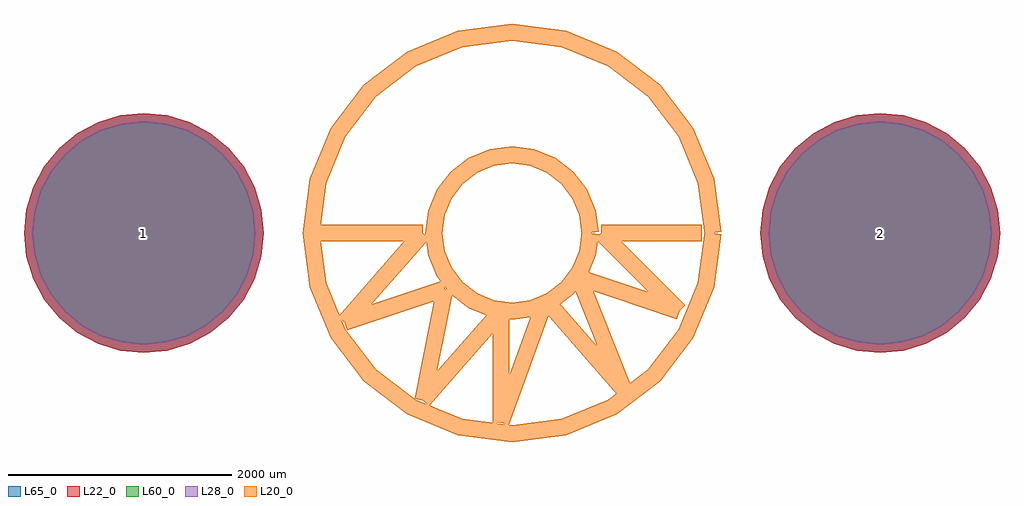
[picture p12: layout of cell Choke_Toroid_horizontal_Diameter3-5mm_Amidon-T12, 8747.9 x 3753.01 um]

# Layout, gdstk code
import gdstk
lib = gdstk.Library(unit=1e-6, precision=1e-09)
def P(c, l, *ps):  # polygons
    for p in ps: c.add(gdstk.Polygon(p, *l))
L20_0 = (20, 0)
L22_0 = (22, 0)
L28_0 = (28, 0)
L60_0 = (60, 0)
L65_0 = (65, 0)

choke_toroid_horizontal_ = lib.new_cell('Choke_Toroid_horizontal_Diameter3-5mm_Amidon-T12')
P(choke_toroid_horizontal_, L22_0, [(4373.95,0),(4353.304,209.623),(4292.159,411.19),(4192.866,596.955),(4059.239,759.779),(3896.415,893.406),(3710.65,992.699),(3509.083,1053.844),(3299.46,1074.49),(3089.837,1053.844),(2888.27,992.699),(2702.505,893.406),(2539.681,759.779),(2406.054,596.955),(2306.761,411.19),(2245.616,209.623),(2224.97,0),(2245.616,-209.623),(2306.761,-411.19),(2406.054,-596.955),(2539.681,-759.779),(2702.505,-893.406),(2888.27,-992.699),(3089.837,-1053.844),(3299.46,-1074.49),(3509.083,-1053.844),(3710.65,-992.699),(3896.415,-893.406),(4059.239,-759.779),(4192.866,-596.955),(4292.159,-411.19),(4353.304,-209.623)],
  [(-2224.97,0),(-2245.616,209.623),(-2306.761,411.19),(-2406.054,596.955),(-2539.681,759.779),(-2702.505,893.406),(-2888.27,992.699),(-3089.837,1053.844),(-3299.46,1074.49),(-3509.083,1053.844),(-3710.65,992.699),(-3896.415,893.406),(-4059.239,759.779),(-4192.866,596.955),(-4292.159,411.19),(-4353.304,209.623),(-4373.95,0),(-4353.304,-209.623),(-4292.159,-411.19),(-4192.866,-596.955),(-4059.239,-759.779),(-3896.415,-893.406),(-3710.65,-992.699),(-3509.083,-1053.844),(-3299.46,-1074.49),(-3089.837,-1053.844),(-2888.27,-992.699),(-2702.505,-893.406),(-2539.681,-759.779),(-2406.054,-596.955),(-2306.761,-411.19),(-2245.616,-209.623)])
P(choke_toroid_horizontal_, L28_0, [(4298.95,0),(4279.745,194.991),(4222.868,382.488),(4130.506,555.287),(4006.206,706.746),(3854.747,831.046),(3681.948,923.408),(3494.451,980.285),(3299.46,999.49),(3104.469,980.285),(2916.972,923.408),(2744.173,831.046),(2592.714,706.746),(2468.414,555.287),(2376.052,382.488),(2319.175,194.991),(2299.97,0),(2319.175,-194.991),(2376.052,-382.488),(2468.414,-555.287),(2592.714,-706.746),(2744.173,-831.046),(2916.972,-923.408),(3104.469,-980.285),(3299.46,-999.49),(3494.451,-980.285),(3681.948,-923.408),(3854.747,-831.046),(4006.206,-706.746),(4130.506,-555.287),(4222.868,-382.488),(4279.745,-194.991)],
  [(-2299.97,0),(-2319.175,194.991),(-2376.052,382.488),(-2468.414,555.287),(-2592.714,706.746),(-2744.173,831.046),(-2916.972,923.408),(-3104.469,980.285),(-3299.46,999.49),(-3494.451,980.285),(-3681.948,923.408),(-3854.747,831.046),(-4006.206,706.746),(-4130.506,555.287),(-4222.868,382.488),(-4279.745,194.991),(-4298.95,0),(-4279.745,-194.991),(-4222.868,-382.488),(-4130.506,-555.287),(-4006.206,-706.746),(-3854.747,-831.046),(-3681.948,-923.408),(-3494.451,-980.285),(-3299.46,-999.49),(-3104.469,-980.285),(-2916.972,-923.408),(-2744.173,-831.046),(-2592.714,-706.746),(-2468.414,-555.287),(-2376.052,-382.488),(-2319.175,-194.991)])
P(choke_toroid_horizontal_, L60_0, [(4298.95,0),(4279.745,194.991),(4222.868,382.488),(4130.506,555.287),(4006.206,706.746),(3854.747,831.046),(3681.948,923.408),(3494.451,980.285),(3299.46,999.49),(3104.469,980.285),(2916.972,923.408),(2744.173,831.046),(2592.714,706.746),(2468.414,555.287),(2376.052,382.488),(2319.175,194.991),(2299.97,0),(2319.175,-194.991),(2376.052,-382.488),(2468.414,-555.287),(2592.714,-706.746),(2744.173,-831.046),(2916.972,-923.408),(3104.469,-980.285),(3299.46,-999.49),(3494.451,-980.285),(3681.948,-923.408),(3854.747,-831.046),(4006.206,-706.746),(4130.506,-555.287),(4222.868,-382.488),(4279.745,-194.991)],
  [(-2299.97,0),(-2319.175,194.991),(-2376.052,382.488),(-2468.414,555.287),(-2592.714,706.746),(-2744.173,831.046),(-2916.972,923.408),(-3104.469,980.285),(-3299.46,999.49),(-3494.451,980.285),(-3681.948,923.408),(-3854.747,831.046),(-4006.206,706.746),(-4130.506,555.287),(-4222.868,382.488),(-4279.745,194.991),(-4298.95,0),(-4279.745,-194.991),(-4222.868,-382.488),(-4130.506,-555.287),(-4006.206,-706.746),(-3854.747,-831.046),(-3681.948,-923.408),(-3494.451,-980.285),(-3299.46,-999.49),(-3104.469,-980.285),(-2916.972,-923.408),(-2744.173,-831.046),(-2592.714,-706.746),(-2468.414,-555.287),(-2376.052,-382.488),(-2319.175,-194.991)])
P(choke_toroid_horizontal_, L65_0, [(4373.95,0),(4353.304,209.623),(4292.159,411.19),(4192.866,596.955),(4059.239,759.779),(3896.415,893.406),(3710.65,992.699),(3509.083,1053.844),(3299.46,1074.49),(3089.837,1053.844),(2888.27,992.699),(2702.505,893.406),(2539.681,759.779),(2406.054,596.955),(2306.761,411.19),(2245.616,209.623),(2224.97,0),(2245.616,-209.623),(2306.761,-411.19),(2406.054,-596.955),(2539.681,-759.779),(2702.505,-893.406),(2888.27,-992.699),(3089.837,-1053.844),(3299.46,-1074.49),(3509.083,-1053.844),(3710.65,-992.699),(3896.415,-893.406),(4059.239,-759.779),(4192.866,-596.955),(4292.159,-411.19),(4353.304,-209.623)],
  [(-2224.97,0),(-2245.616,209.623),(-2306.761,411.19),(-2406.054,596.955),(-2539.681,759.779),(-2702.505,893.406),(-2888.27,992.699),(-3089.837,1053.844),(-3299.46,1074.49),(-3509.083,1053.844),(-3710.65,992.699),(-3896.415,893.406),(-4059.239,759.779),(-4192.866,596.955),(-4292.159,411.19),(-4353.304,209.623),(-4373.95,0),(-4353.304,-209.623),(-4292.159,-411.19),(-4192.866,-596.955),(-4059.239,-759.779),(-3896.415,-893.406),(-3710.65,-992.699),(-3509.083,-1053.844),(-3299.46,-1074.49),(-3089.837,-1053.844),(-2888.27,-992.699),(-2702.505,-893.406),(-2539.681,-759.779),(-2406.054,-596.955),(-2306.761,-411.19),(-2245.616,-209.623)])
choke_toroid_horizontal_.add(gdstk.FlexPath([(1800.86,0),(1739.497,466.097),(1559.591,900.43),(1273.4,1273.4),(900.43,1559.591),(466.097,1739.497),(0,1800.86),(-466.097,1739.497),(-900.43,1559.591),(-1273.4,1273.4),(-1559.591,900.43),(-1739.497,466.097),(-1800.86,0),(-1739.497,-466.097),(-1559.591,-900.43),(-1273.4,-1273.4),(-900.43,-1559.591),(-466.097,-1739.497),(0,-1800.86),(466.097,-1739.497),(900.43,-1559.591),(1273.4,-1273.4),(1559.591,-900.43),(1739.497,-466.097),(1800.86,0)], 149.998, ends="flush", simple_path=True, layer=20, datatype=0))  # L20_0
choke_toroid_horizontal_.add(gdstk.FlexPath([(701.04,0),(677.153,181.443),(607.118,350.52),(495.71,495.71),(350.52,607.118),(181.443,677.153),(0,701.04),(-181.443,677.153),(-350.52,607.118),(-495.71,495.71),(-607.118,350.52),(-677.153,181.443),(-701.04,0),(-677.153,-181.443),(-607.118,-350.52),(-495.71,-495.71),(-350.52,-607.118),(-181.443,-677.153),(0,-701.04),(181.443,-677.153),(350.52,-607.118),(495.71,-495.71),(607.118,-350.52),(677.153,-181.443),(701.04,0)], 149.998, ends="flush", simple_path=True, layer=20, datatype=0))  # L20_0
choke_toroid_horizontal_.add(gdstk.FlexPath([(800.1,0),(1699.26,0)], 149.998, ends="flush", simple_path=True, layer=20, datatype=0))  # L20_0
choke_toroid_horizontal_.add(gdstk.FlexPath([(1501.14,-701.04),(800.1,0)], 149.998, ends="flush", simple_path=True, layer=20, datatype=0))  # L20_0
choke_toroid_horizontal_.add(gdstk.FlexPath([(599.44,-398.78),(1501.14,-701.04)], 149.998, ends="flush", simple_path=True, layer=20, datatype=0))  # L20_0
choke_toroid_horizontal_.add(gdstk.FlexPath([(1000.76,-1399.54),(599.44,-398.78)], 149.998, ends="flush", simple_path=True, layer=20, datatype=0))  # L20_0
choke_toroid_horizontal_.add(gdstk.FlexPath([(299.72,-599.44),(1000.76,-1399.54)], 149.998, ends="flush", simple_path=True, layer=20, datatype=0))  # L20_0
choke_toroid_horizontal_.add(gdstk.FlexPath([(-99.06,-1699.26),(299.72,-599.44)], 149.998, ends="flush", simple_path=True, layer=20, datatype=0))  # L20_0
choke_toroid_horizontal_.add(gdstk.FlexPath([(-99.06,-701.04),(-99.06,-1699.26)], 149.998, ends="flush", simple_path=True, layer=20, datatype=0))  # L20_0
choke_toroid_horizontal_.add(gdstk.FlexPath([(-800.1,-1501.14),(-99.06,-701.04)], 149.998, ends="flush", simple_path=True, layer=20, datatype=0))  # L20_0
choke_toroid_horizontal_.add(gdstk.FlexPath([(-599.44,-500.38),(-800.1,-1501.14)], 149.998, ends="flush", simple_path=True, layer=20, datatype=0))  # L20_0
choke_toroid_horizontal_.add(gdstk.FlexPath([(-1501.14,-800.1),(-599.44,-500.38)], 149.998, ends="flush", simple_path=True, layer=20, datatype=0))  # L20_0
choke_toroid_horizontal_.add(gdstk.FlexPath([(-800.1,0),(-1501.14,-800.1)], 149.998, ends="flush", simple_path=True, layer=20, datatype=0))  # L20_0
choke_toroid_horizontal_.add(gdstk.FlexPath([(-1800.86,0),(-800.1,0)], 149.998, ends="flush", simple_path=True, layer=20, datatype=0))  # L20_0
choke_toroid_horizontal_.add(gdstk.Label('2', (3299.46,0), layer=28, texttype=0))
choke_toroid_horizontal_.add(gdstk.Label('1', (-3299.46,0), layer=28, texttype=0))
choke_toroid_horizontal_.add(gdstk.Label('Start', (-8600.44,2900.68), layer=9, texttype=0))
choke_toroid_horizontal_.add(gdstk.Label('End', (8199.12,2900.68), layer=9, texttype=0))
choke_toroid_horizontal_.add(gdstk.Label('type', (0,-3810), layer=9, texttype=0))
choke_toroid_horizontal_.add(gdstk.Label('devicename', (0,3810), layer=9, texttype=0))

lib.write_gds('Choke_Toroid_horizontal_Diameter3-5mm_Amidon-T12.gds')
